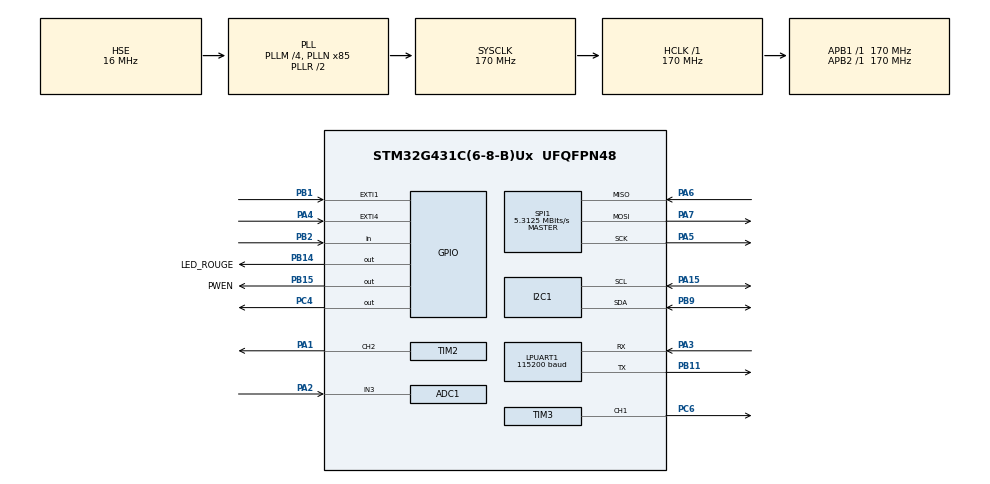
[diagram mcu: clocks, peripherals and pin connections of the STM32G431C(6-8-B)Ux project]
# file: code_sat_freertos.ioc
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ADC1.Channel-0\#ChannelRegularConversion=ADC_CHANNEL_VREFINT
ADC1.Channel-1\#ChannelRegularConversion=ADC_CHANNEL_TEMPSENSOR_ADC1
ADC1.Channel-2\#ChannelRegularConversion=ADC_CHANNEL_3
ADC1.ContinuousConvMode=ENABLE
ADC1.EOCSelection=ADC_EOC_SEQ_CONV
ADC1.NbrOfConversion=3
ADC1.NbrOfConversionFlag=1
ADC1.OffsetNumber-0\#ChannelRegularConversion=ADC_OFFSET_NONE
ADC1.OffsetNumber-1\#ChannelRegularConversion=ADC_OFFSET_NONE
ADC1.OffsetNumber-2\#ChannelRegularConversion=ADC_OFFSET_NONE
ADC1.Rank-0\#ChannelRegularConversion=1
ADC1.Rank-1\#ChannelRegularConversion=2
ADC1.Rank-2\#ChannelRegularConversion=3
ADC1.SamplingTime-0\#ChannelRegularConversion=ADC_SAMPLETIME_640CYCLES_5
ADC1.SamplingTime-1\#ChannelRegularConversion=ADC_SAMPLETIME_640CYCLES_5
ADC1.SamplingTime-2\#ChannelRegularConversion=ADC_SAMPLETIME_640CYCLES_5
ADC1.master=1
Dma.ADC1.0.Direction=DMA_PERIPH_TO_MEMORY
Dma.ADC1.0.EventEnable=DISABLE
Dma.ADC1.0.Instance=DMA1_Channel2
Dma.ADC1.0.MemDataAlignment=DMA_MDATAALIGN_HALFWORD
Dma.ADC1.0.MemInc=DMA_MINC_ENABLE
Dma.ADC1.0.Mode=DMA_CIRCULAR
Dma.ADC1.0.PeriphDataAlignment=DMA_PDATAALIGN_HALFWORD
Dma.ADC1.0.PeriphInc=DMA_PINC_DISABLE
Dma.ADC1.0.Polarity=HAL_DMAMUX_REQ_GEN_RISING
Dma.ADC1.0.Priority=DMA_PRIORITY_LOW
Dma.ADC1.0.RequestNumber=1
Dma.ADC1.0.SignalID=NONE
Dma.ADC1.0.SyncEnable=DISABLE
Dma.ADC1.0.SyncPolarity=HAL_DMAMUX_SYNC_NO_EVENT
Dma.ADC1.0.SyncRequestNumber=1
Dma.ADC1.0.SyncSignalID=NONE
Dma.LPUART1_RX.1.Direction=DMA_PERIPH_TO_MEMORY
Dma.LPUART1_RX.1.EventEnable=DISABLE
Dma.LPUART1_RX.1.Instance=DMA1_Channel3
Dma.LPUART1_RX.1.MemDataAlignment=DMA_MDATAALIGN_BYTE
Dma.LPUART1_RX.1.MemInc=DMA_MINC_ENABLE
Dma.LPUART1_RX.1.Mode=DMA_CIRCULAR
Dma.LPUART1_RX.1.PeriphDataAlignment=DMA_PDATAALIGN_BYTE
Dma.LPUART1_RX.1.PeriphInc=DMA_PINC_DISABLE
Dma.LPUART1_RX.1.Polarity=HAL_DMAMUX_REQ_GEN_RISING
Dma.LPUART1_RX.1.Priority=DMA_PRIORITY_LOW
Dma.LPUART1_RX.1.RequestNumber=1
Dma.LPUART1_RX.1.SignalID=NONE
Dma.LPUART1_RX.1.SyncEnable=DISABLE
Dma.LPUART1_RX.1.SyncPolarity=HAL_DMAMUX_SYNC_NO_EVENT
Dma.LPUART1_RX.1.SyncRequestNumber=1
Dma.LPUART1_RX.1.SyncSignalID=NONE
Dma.LPUART1_TX.3.Direction=DMA_MEMORY_TO_PERIPH
Dma.LPUART1_TX.3.EventEnable=DISABLE
Dma.LPUART1_TX.3.Instance=DMA1_Channel4
Dma.LPUART1_TX.3.MemDataAlignment=DMA_MDATAALIGN_BYTE
Dma.LPUART1_TX.3.MemInc=DMA_MINC_ENABLE
Dma.LPUART1_TX.3.Mode=DMA_NORMAL
Dma.LPUART1_TX.3.PeriphDataAlignment=DMA_PDATAALIGN_BYTE
Dma.LPUART1_TX.3.PeriphInc=DMA_PINC_DISABLE
Dma.LPUART1_TX.3.Polarity=HAL_DMAMUX_REQ_GEN_RISING
Dma.LPUART1_TX.3.Priority=DMA_PRIORITY_LOW
Dma.LPUART1_TX.3.RequestNumber=1
Dma.LPUART1_TX.3.SignalID=NONE
Dma.LPUART1_TX.3.SyncEnable=DISABLE
Dma.LPUART1_TX.3.SyncPolarity=HAL_DMAMUX_SYNC_NO_EVENT
Dma.LPUART1_TX.3.SyncRequestNumber=1
Dma.LPUART1_TX.3.SyncSignalID=NONE
Dma.Request0=ADC1
Dma.Request1=LPUART1_RX
Dma.Request2=TIM2_CH2
Dma.Request3=LPUART1_TX
Dma.TIM2_CH2.2.Direction=DMA_MEMORY_TO_PERIPH
Dma.TIM2_CH2.2.EventEnable=DISABLE
Dma.TIM2_CH2.2.Instance=DMA1_Channel1
Dma.TIM2_CH2.2.MemDataAlignment=DMA_MDATAALIGN_BYTE
Dma.TIM2_CH2.2.MemInc=DMA_MINC_ENABLE
Dma.TIM2_CH2.2.Mode=DMA_NORMAL
Dma.TIM2_CH2.2.PeriphDataAlignment=DMA_PDATAALIGN_WORD
Dma.TIM2_CH2.2.PeriphInc=DMA_PINC_DISABLE
Dma.TIM2_CH2.2.Polarity=HAL_DMAMUX_REQ_GEN_RISING
Dma.TIM2_CH2.2.Priority=DMA_PRIORITY_LOW
Dma.TIM2_CH2.2.RequestNumber=1
Dma.TIM2_CH2.2.SignalID=NONE
Dma.TIM2_CH2.2.SyncEnable=DISABLE
Dma.TIM2_CH2.2.SyncPolarity=HAL_DMAMUX_SYNC_NO_EVENT
Dma.TIM2_CH2.2.SyncRequestNumber=1
Dma.TIM2_CH2.2.SyncSignalID=NONE
FATFS._MAX_SS=512
FATFS._USE_LFN=0
FREERTOS.BinarySemaphores01=uartTxDone,Dynamic,NULL,Available
FREERTOS.INCLUDE_vTaskDelayUntil=1
FREERTOS.Mutexes01=SDCard_mutexe,Dynamic,NULL,Depleted;I2Cmutex,Dynamic,NULL,Depleted;uartmutex,Dynamic,NULL,Available
FREERTOS.Tasks01=statemachine,1,300,Startstatemachine,Default,NULL,Dynamic,NULL,NULL;Sdcardwrite,0,512,StartSdcard,Default,NULL,Dynamic,NULL,NULL;tarvosDecode,3,256,startTarvosDecode,Default,NULL,Dynamic,NULL,NULL
FREERTOS.configENABLE_FPU=1
FREERTOS.configTOTAL_HEAP_SIZE=12000
FREERTOS.configUSE_NEWLIB_REENTRANT=1
I2C1.Timing=0x40B285C2
LPUART1.BaudRate=115200
Mcu.Family=STM32G4
Mcu.Name=STM32G431C(6-8-B)Ux
Mcu.Package=UFQFPN48
NVIC.ADC1_2_IRQn=true\:5\:0\:false\:false\:true\:true\:true\:true\:true
NVIC.DMA1_Channel1_IRQn=true\:5\:0\:false\:false\:true\:true\:false\:true\:true
NVIC.DMA1_Channel2_IRQn=true\:5\:0\:false\:false\:true\:true\:false\:true\:true
NVIC.DMA1_Channel3_IRQn=true\:5\:0\:false\:false\:true\:true\:false\:true\:true
NVIC.DMA1_Channel4_IRQn=true\:5\:0\:false\:false\:true\:true\:false\:true\:true
NVIC.EXTI1_IRQn=true\:5\:0\:false\:false\:true\:true\:true\:true\:true
NVIC.EXTI4_IRQn=true\:5\:0\:false\:false\:true\:true\:true\:true\:true
NVIC.LPUART1_IRQn=true\:5\:0\:false\:false\:true\:true\:true\:true\:true
NVIC.PriorityGroup=NVIC_PRIORITYGROUP_4
NVIC.TIM1_UP_TIM16_IRQn=true\:15\:0\:false\:false\:true\:false\:false\:true\:true
NVIC.TIM2_IRQn=true\:5\:0\:false\:false\:true\:true\:true\:true\:true
NVIC.TIM4_IRQn=true\:6\:0\:true\:false\:true\:true\:true\:true\:true
NVIC.TimeBase=TIM1_UP_TIM16_IRQn
NVIC.TimeBaseIP=TIM1
PA1.GPIO_Speed=GPIO_SPEED_FREQ_MEDIUM
PA1.Signal=S_TIM2_CH2
PA13.Mode=Trace_Asynchronous_SW
PA13.Signal=SYS_JTMS-SWDIO
PA14.Mode=Trace_Asynchronous_SW
PA14.Signal=SYS_JTCK-SWCLK
PA15.Mode=I2C
PA15.Signal=I2C1_SCL
PA2.Mode=IN3-Single-Ended
PA2.Signal=ADC1_IN3
PA3.Mode=Asynchronous
PA3.Signal=LPUART1_RX
PA4.GPIO_ModeDefaultEXTI=GPIO_MODE_IT_RISING_FALLING
PA4.Signal=GPXTI4
PA5.GPIO_PuPd=GPIO_NOPULL
PA5.Mode=Full_Duplex_Master
PA5.Signal=SPI1_SCK
PA6.GPIO_PuPd=GPIO_NOPULL
PA6.Mode=Full_Duplex_Master
PA6.Signal=SPI1_MISO
PA7.GPIO_PuPd=GPIO_NOPULL
PA7.Mode=Full_Duplex_Master
PA7.Signal=SPI1_MOSI
PB1.GPIO_ModeDefaultEXTI=GPIO_MODE_IT_RISING_FALLING
PB1.GPIO_PuPd=GPIO_NOPULL
PB1.Signal=GPXTI1
PB11.Mode=Asynchronous
PB11.Signal=LPUART1_TX
PB14.GPIO_Label=LED_ROUGE
PB14.Signal=GPIO_Output
PB15.GPIO_Label=PWEN
PB15.Signal=GPIO_Output
PB2.Signal=GPIO_Input
PB3.Mode=Trace_Asynchronous_SW
PB3.Signal=SYS_JTDO-SWO
PB9.Mode=I2C
PB9.Signal=I2C1_SDA
PC4.Signal=GPIO_Output
PC6.Signal=S_TIM3_CH1
PF0-OSC_IN.Mode=HSE-External-Oscillator
PF0-OSC_IN.Signal=RCC_OSC_IN
PF1-OSC_OUT.Mode=HSE-External-Oscillator
PF1-OSC_OUT.Signal=RCC_OSC_OUT
ProjectManager.HeapSize=0x200
ProjectManager.StackSize=0x400
ProjectManager.TargetToolchain=STM32CubeIDE
RCC.ADC12Freq_Value=170000000
RCC.AHBFreq_Value=170000000
RCC.APB1Freq_Value=170000000
RCC.APB1TimFreq_Value=170000000
RCC.APB2Freq_Value=170000000
RCC.APB2TimFreq_Value=170000000
RCC.CortexFreq_Value=170000000
RCC.EXTERNAL_CLOCK_VALUE=12288000
RCC.HCLKFreq_Value=170000000
RCC.HSE_VALUE=16000000
RCC.HSI48_VALUE=48000000
RCC.HSI_VALUE=16000000
RCC.LSE_VALUE=32768
RCC.PLLM=RCC_PLLM_DIV4
RCC.PLLN=85
RCC.PLLSourceVirtual=RCC_PLLSOURCE_HSE
RCC.SYSCLKFreq_VALUE=170000000
RCC.SYSCLKSource=RCC_SYSCLKSOURCE_PLLCLK
RCC.USBFreq_Value=170000000
RCC.VCOOutputFreq_Value=340000000
SH.S_TIM2_CH2.0=TIM2_CH2,PWM Generation2 CH2
SH.S_TIM3_CH1.0=TIM3_CH1,PWM Generation1 CH1
SPI1.BaudRatePrescaler=SPI_BAUDRATEPRESCALER_32
SPI1.CalculateBaudRate=5.3125 MBits/s
SPI1.DataSize=SPI_DATASIZE_8BIT
SPI1.Direction=SPI_DIRECTION_2LINES
SPI1.Mode=SPI_MODE_MASTER
SPI1.VirtualType=VM_MASTER
TIM2.Channel-PWM\ Generation2\ CH2=TIM_CHANNEL_2
TIM2.OCFastMode_PWM-PWM\ Generation2\ CH2=TIM_OCFAST_ENABLE
TIM2.PeriodNoDither=204-1
TIM2.Prescaler=0
TIM3.AutoReloadPreload=TIM_AUTORELOAD_PRELOAD_ENABLE
TIM3.Channel-PWM\ Generation1\ CH1=TIM_CHANNEL_1
TIM3.PeriodNoDither=10000-1
TIM3.Prescaler=170-1
TIM4.PeriodNoDither=2000-1
TIM4.Prescaler=17000-1
VP_ADC1_TempSens_Input.Mode=IN-TempSens
VP_ADC1_Vref_Input.Mode=IN-Vrefint
VP_FATFS_VS_Generic.Mode=User_defined
VP_FREERTOS_VS_CMSIS_V1.Mode=CMSIS_V1
VP_SYS_VS_DBSignals.Mode=DisableDeadBatterySignals
VP_SYS_VS_tim1.Mode=TIM1
VP_TIM2_VS_ClockSourceINT.Mode=Internal
VP_TIM3_VS_ClockSourceINT.Mode=Internal
VP_TIM4_VS_ClockSourceINT.Mode=Internal
board=custom

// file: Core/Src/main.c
/* USER CODE BEGIN Header */
/**
  ******************************************************************************
  * @file           : main.c
  * @brief          : Main program body
  ******************************************************************************
  * @attention
  *
  * Copyright (c) 2025 STMicroelectronics.
  * All rights reserved.
  *
  * This software is licensed under terms that can be found in the LICENSE file
  * in the root directory of this software component.
  * If no LICENSE file comes with this software, it is provided AS-IS.
  *
  ******************************************************************************
  */
/* USER CODE END Header */
#include "main.h"
#include "cmsis_os.h"
#include "adc.h"
#include "dma.h"
#include "app_fatfs.h"
#include "i2c.h"
#include "usart.h"
#include "spi.h"
#include "tim.h"
#include "gpio.h"

/* USER CODE BEGIN Includes */
#include "tarvos.h"
#include "led.h"
#include "servo.h"
#include "math.h"
/* USER CODE END Includes */

/* USER CODE BEGIN PV */

uint8_t tarvos_TX_Buffer[TarvosTxBufferSize];
uint8_t tarvos_DATA[64];
uint8_t tarvos_RX_Buffer[TarvosRxBufferSize];

uint8_t workingbuffer[110];
uint8_t sdcardbuffer[512];

FATFS FatFs;   // FATFS handle
FRESULT fres;  // Common result code
FILINFO fno;	  // Structure holds information
FATFS *getFreeFs; 	  // Read information
FIL fil;
DIR dir;			  // Directory object structure
DWORD free_clusters;  // Free Clusters
DWORD free_sectors;	  // Free Sectors
DWORD total_sectors;

int tbtn1=0;
uint16_t rawADCdata[3];
float temp=0;
float vrefint=0;
float vbat=0;

extern uint8_t dma_rx_buffer[DMA_CHUNK_SIZE];               // Réception DMA par bloc de 5
extern uint8_t circular_buffer[CIRC_BUF_SIZE];              // Buffer circulaire
extern volatile uint16_t write_index;
extern volatile uint16_t read_index;

DecodedPayload OTHERData;

uint8_t LEDDMABUF[DMABUFLEN];
uint8_t DMA_COMPLETE_FLAG=0;

int gros_btn_time=0;

int flag_drop = 0;
int flag_separation = 0;
int flag_calib=0;
int flag_bouton_servo=0;
int flag_servo_started=0;

uint32_t cpt_tps_chute=0;

int flag_fin=0;

float hauteur_Initiale=0.0;

float hauteur_relative=0.0;

int pbmseeker=0;

int received_flag=0;

int trameready=0;

uint32_t timeindex=0;

/* USER CODE END PV */

void SystemClock_Config(void);
void MX_FREERTOS_Init(void);

/* USER CODE BEGIN 0 */
void HAL_TIM_PWM_PulseFinishedCallback(TIM_HandleTypeDef *htim){

	LED_Callback();
}
/* USER CODE END 0 */

int main(void)
{

  /* MCU Configuration--------------------------------------------------------*/

  /* Reset of all peripherals, Initializes the Flash interface and the Systick. */
  HAL_Init();

  /* Configure the system clock */
  SystemClock_Config();

  /* Initialize all configured peripherals */
  MX_GPIO_Init();
  MX_DMA_Init();
  MX_ADC1_Init();
  MX_I2C1_Init();
  MX_LPUART1_UART_Init();
  MX_TIM3_Init();
  MX_TIM2_Init();
  MX_SPI1_Init();
  if (MX_FATFS_Init() != APP_OK) {
    Error_Handler();
  }
  MX_TIM4_Init();
  /* USER CODE BEGIN 2 */

  HAL_GPIO_WritePin(PWEN_GPIO_Port,PWEN_Pin,GPIO_PIN_SET);
  HAL_GPIO_WritePin(LED_ROUGE_GPIO_Port,LED_ROUGE_Pin,GPIO_PIN_SET);

  if(HAL_ADC_Start_DMA(&hadc1,(uint16_t*)rawADCdata, 3)!=HAL_OK){
 	 pbmseeker=1;
   }

  if(  LED_Init()!=HAL_OK){
 	 pbmseeker=1;

   }

  if( INIT_PERM_TARVOS(SAT_ADDR, GROUND_ADDR)!=HAL_OK){
 	 pbmseeker=1;

   }

  HAL_Delay(100);
  HAL_UART_Abort(&hlpuart1);
  if(HAL_UART_Receive_DMA(&hlpuart1, dma_rx_buffer, DMA_CHUNK_SIZE)!=HAL_OK){
 	pbmseeker=1;

   }
  HAL_TIM_Base_Start_IT(&htim4);
  HAL_Delay(10);

  fres = f_mount(&FatFs, "", 1);
  		  if (fres == FR_OK) {
  			  fres = f_mkdir("DEMO");
  			  fres = f_open(&fil, "/DEMO/write.txt",FA_WRITE | FA_OPEN_ALWAYS);
  			  if (fres == FR_OK) {
  				  //snprintf((char*) readBuf,30, "I hate Java!");
  				  UINT bytesWrote;
  				  fres = f_write(&fil,(uint8_t *)"test123test", 11, &bytesWrote);
  				  f_close(&fil);

  			  }
  			  f_mount(NULL, "", 0);
  		  }

  /* USER CODE END 2 */

  /* Call init function for freertos objects (in cmsis_os2.c) */
  MX_FREERTOS_Init();

  /* Start scheduler */
  osKernelStart();

  /* We should never get here as control is now taken by the scheduler */

  /* Infinite loop */
  while (1)
  {

  }
}

void SystemClock_Config(void)
{
  RCC_OscInitTypeDef RCC_OscInitStruct = {0};
  RCC_ClkInitTypeDef RCC_ClkInitStruct = {0};

  /** Configure the main internal regulator output voltage
  */
  HAL_PWREx_ControlVoltageScaling(PWR_REGULATOR_VOLTAGE_SCALE1_BOOST);

  /** Initializes the RCC Oscillators according to the specified parameters
  * in the RCC_OscInitTypeDef structure.
  */
  RCC_OscInitStruct.OscillatorType = RCC_OSCILLATORTYPE_HSE;
  RCC_OscInitStruct.HSEState = RCC_HSE_ON;
  RCC_OscInitStruct.PLL.PLLState = RCC_PLL_ON;
  RCC_OscInitStruct.PLL.PLLSource = RCC_PLLSOURCE_HSE;
  RCC_OscInitStruct.PLL.PLLM = RCC_PLLM_DIV4;
  RCC_OscInitStruct.PLL.PLLN = 85;
  RCC_OscInitStruct.PLL.PLLP = RCC_PLLP_DIV2;
  RCC_OscInitStruct.PLL.PLLQ = RCC_PLLQ_DIV2;
  RCC_OscInitStruct.PLL.PLLR = RCC_PLLR_DIV2;
  if (HAL_RCC_OscConfig(&RCC_OscInitStruct) != HAL_OK)
  {
    Error_Handler();
  }

  /** Initializes the CPU, AHB and APB buses clocks
  */
  RCC_ClkInitStruct.ClockType = RCC_CLOCKTYPE_HCLK|RCC_CLOCKTYPE_SYSCLK
                              |RCC_CLOCKTYPE_PCLK1|RCC_CLOCKTYPE_PCLK2;
  RCC_ClkInitStruct.SYSCLKSource = RCC_SYSCLKSOURCE_PLLCLK;
  RCC_ClkInitStruct.AHBCLKDivider = RCC_SYSCLK_DIV1;
  RCC_ClkInitStruct.APB1CLKDivider = RCC_HCLK_DIV1;
  RCC_ClkInitStruct.APB2CLKDivider = RCC_HCLK_DIV1;

  if (HAL_RCC_ClockConfig(&RCC_ClkInitStruct, FLASH_LATENCY_4) != HAL_OK)
  {
    Error_Handler();
  }
}

void HAL_TIM_PeriodElapsedCallback(TIM_HandleTypeDef *htim)
{
  if (htim->Instance == TIM1)
  {
    HAL_IncTick();
  }
}

void Error_Handler(void)
{
  __disable_irq();
  while (1)
  {
  }
}
